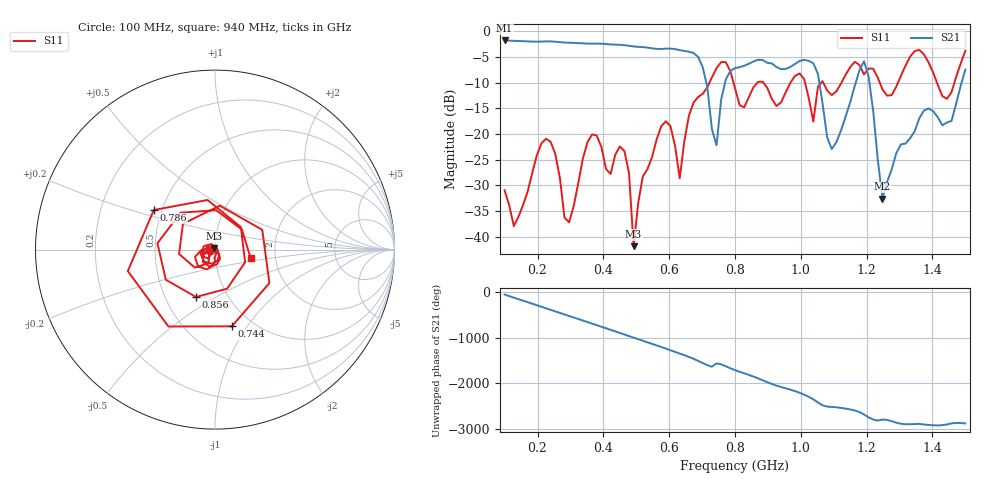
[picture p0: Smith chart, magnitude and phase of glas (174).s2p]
! NanoVNA-App
! Date: 2025-09-25 15:56:49
! Start: 100MHz Stop: 1,5GHz Points: 101
! S-Parameter data: F S11 S21 S12 S22
# Hz S RI R 50
!  Frequency  S11_Real  S11_Imag  S21_Real  S21_Imag  S12_Real  S12_Imag  S22_Real  S22_Imag
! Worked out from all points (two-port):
!   101 points, 100 MHz to 1.5 GHz, reference 50 ohm
!   highest |S21| = -1.80 dB at 100 MHz (marker M1); lowest = -32.6 dB at 1.248 GHz (marker M2)
!   |S21| within 3 dB of the highest: start of sweep to 684.2 MHz
!   lowest |S11| = -41.8 dB at 492 MHz (marker M3), VSWR 1.02, Z = 49.5 + j0.613 ohm
!   |S11| at or under -10 dB: start of sweep to 722.5 MHz; 795.4 MHz to 868.2 MHz (72.78 MHz wide, 8.75 % of centre); 886.1 MHz to 968.7 MHz (82.64 MHz wide, 8.91 % of centre) (the widest 3 of 7)
!   S12 and S22 are empty: the file has one direction only
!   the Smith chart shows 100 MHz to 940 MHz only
!   S11 on the Smith chart (normalised r, x): 100 MHz: 0.95, -0.01; 744 MHz: 0.81, -0.85; 786 MHz: 0.45, +0.24; 856 MHz: 0.71, -0.41; 940 MHz: 1.49, -0.14
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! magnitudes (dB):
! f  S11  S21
! 100 MHz  -31.0  -1.8
! 128 MHz  -37.9  -1.9
! 226 MHz  -20.9  -2.0
! 296 MHz  -37.2  -2.2
! 338 MHz  -24.7  -2.4
! 464 MHz  -23.3  -2.7
! 492 MHz  -41.8  -3.0
! 576 MHz  -18.5  -3.5
! 632 MHz  -28.6  -3.7
! 702 MHz  -12.2  -7.0
! 744 MHz  -7.2  -22.2
! 786 MHz  -7.8  -7.7
! 800 MHz  -11.1  -7.2
! 856 MHz  -10.9  -5.9
! 940 MHz  -13.9  -7.4
! 996 MHz  -8.2  -5.8
! 1.038 GHz  -17.6  -6.2
! 1.094 GHz  -12.4  -22.9
! 1.192 GHz  -8.4  -5.9
! 1.248 GHz  -11.3  -32.6
! 1.276 GHz  -12.4  -26.9
! 1.5 GHz  -3.8  -7.5
